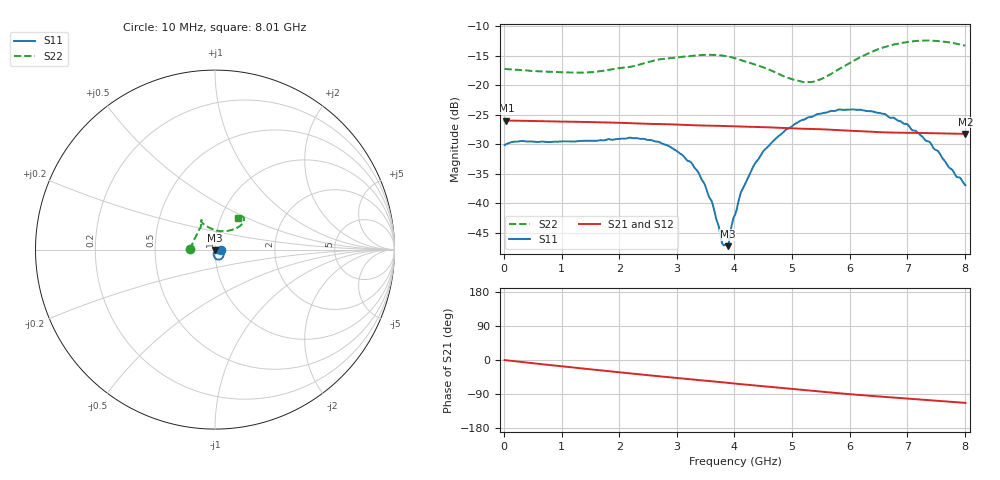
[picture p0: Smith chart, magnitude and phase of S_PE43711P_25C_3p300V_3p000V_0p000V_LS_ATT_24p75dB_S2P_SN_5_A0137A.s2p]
! Device ID: PE43711P
! File Path: z:\PE43711P\CHAR_NOM_04282014\AMB\3p300\LS_ATT_24p75dB\PE43711P_AMB_3p300V_3p000V_0p000V_LS_ATT_24p75dB_S2P_SN_5_A0137A.s2p
! Serial: 5
! Lot: A0137A
! Temp: 25C
! VDD: 3.300
! VSS: 0.000
! Control_Hi: 3.000
! Control_Lo: 0.000
! Attenuation Step: 24.75dB
! Port 1: RF1
! Port 2: RF2
! ThroughPath:1-2
! IDD: 0.0001270524
! ISS: -1.345e-007
#  Hz  S  RI  R  50
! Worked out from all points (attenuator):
!   801 points, 10 MHz to 8.01 GHz, reference 50 ohm
!   highest |S21| = -25.97 dB at 40 MHz (marker M1); lowest = -28.2 dB at 8.01 GHz (marker M2)
!   lowest |S11| = -47.3 dB at 3.88 GHz (marker M3), VSWR 1.01, Z = 50.2 - j0.4 ohm
!   |S11| at or under -10 dB: start of sweep to end of sweep
!   |S22| runs from -19.5 to -12.4 dB; largest |S21 - S12| = 0.00012
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1e7  0.0312 0.000421  0.0503 -0.000215  0.0503 -0.000225  -0.138 0.00101
4e7  0.0318 0.000735  0.0503 -0.000621  0.0503 -0.000631  -0.1372 0.00282
1.35e9  0.0338 -0.00122  0.0454 -0.0185  0.0454 -0.0185  -0.1102 0.0653
2.19e9  0.036 0.00113  0.0389 -0.0277  0.039 -0.0277  -0.0842 0.1163
2.68e9  0.0329 0.00441  0.0345 -0.0319  0.0345 -0.0319  -0.0773 0.1464
3.06e9  0.0257 0.00571  0.0307 -0.0348  0.0308 -0.0348  -0.075 0.1568
3.35e9  0.0185 0.00467  0.0278 -0.0364  0.0278 -0.0364  -0.0748 0.1628
3.61e9  0.0102 0.00122  0.0252 -0.0378  0.0252 -0.0378  -0.0765 0.164
3.79e9  0.00402 -0.00211  0.0234 -0.0388  0.0234 -0.0388  -0.0774 0.1614
3.84e9  0.00296 -0.00334  0.0229 -0.0391  0.0229 -0.0391  -0.0772 0.1596
3.88e9  0.0017 -0.00399  0.0224 -0.0393  0.0224 -0.0392  -0.0766 0.1584
4.01e9  -0.00141 -0.00786  0.021 -0.0398  0.0209 -0.0399  -0.0745 0.1527
4.15e9  -0.00403 -0.0128  0.0194 -0.0403  0.0194 -0.0403  -0.0684 0.1462
4.34e9  -0.0071 -0.0198  0.0174 -0.0409  0.0174 -0.0409  -0.0588 0.1391
4.51e9  -0.00747 -0.027  0.0155 -0.0414  0.0155 -0.0414  -0.0488 0.1329
4.9e9  -0.00294 -0.0421  0.0112 -0.042  0.0112 -0.042  -0.0186 0.1155
5.35e9  0.0102 -0.0532  0.00651 -0.0422  0.00654 -0.0422  0.0289 0.1029
6.04e9  0.0374 -0.0501  -0.000445 -0.0412  -0.000515 -0.0412  0.1094 0.1145
6.68e9  0.0473 -0.0256  -0.00562 -0.0395  -0.00558 -0.0395  0.155 0.1509
7e9  0.0447 -0.0141  -0.00799 -0.0388  -0.00797 -0.0388  0.1617 0.1677
7.39e9  0.0329 -0.00283  -0.0111 -0.0377  -0.011 -0.0378  0.1548 0.1833
8.01e9  0.0142 -0.00146  -0.0153 -0.0357  -0.0154 -0.0357  0.1298 0.1736
